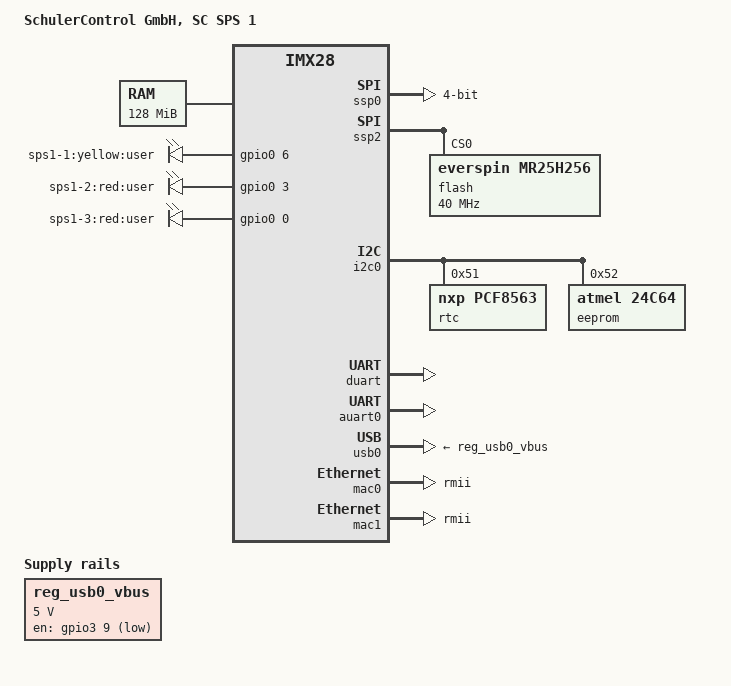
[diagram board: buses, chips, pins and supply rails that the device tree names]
/*
 * Copyright (C) 2012 Marek Vasut <marex@denx.de>
 *
 * The code contained herein is licensed under the GNU General Public
 * License. You may obtain a copy of the GNU General Public License
 * Version 2 or later at the following locations:
 *
 * http://www.opensource.org/licenses/gpl-license.html
 * http://www.gnu.org/copyleft/gpl.html
 */

/dts-v1/;
#include "imx28.dtsi"

/ {
	model = "SchulerControl GmbH, SC SPS 1";
	compatible = "schulercontrol,imx28-sps1", "fsl,imx28";

	memory@40000000 {
		device_type = "memory";
		reg = <0x40000000 0x08000000>;
	};

	apb@80000000 {
		apbh@80000000 {
			pinctrl@80018000 {
				pinctrl-names = "default";
				pinctrl-0 = <&hog_pins_a>;

				hog_pins_a: hog-gpios@0 {
					reg = <0>;
					fsl,pinmux-ids = <
						MX28_PAD_GPMI_D00__GPIO_0_0
						MX28_PAD_GPMI_D03__GPIO_0_3
						MX28_PAD_GPMI_D06__GPIO_0_6
					>;
					fsl,drive-strength = <MXS_DRIVE_4mA>;
					fsl,voltage = <MXS_VOLTAGE_HIGH>;
					fsl,pull-up = <MXS_PULL_DISABLE>;
				};

			};

			ssp0: spi@80010000 {
				compatible = "fsl,imx28-mmc";
				pinctrl-names = "default";
				pinctrl-0 = <&mmc0_4bit_pins_a>;
				bus-width = <4>;
				status = "okay";
			};

			ssp2: spi@80014000 {
				#address-cells = <1>;
				#size-cells = <0>;
				compatible = "fsl,imx28-spi";
				pinctrl-names = "default";
				pinctrl-0 = <&spi2_pins_a>;
				status = "okay";

				flash: m25p80@0 {
					#address-cells = <1>;
					#size-cells = <1>;
					compatible = "everspin,mr25h256", "mr25h256";
					spi-max-frequency = <40000000>;
					reg = <0>;
				};
			};
		};

		apbx@80040000 {
			i2c0: i2c@80058000 {
				pinctrl-names = "default";
				pinctrl-0 = <&i2c0_pins_a>;
				status = "okay";

				rtc: rtc@51 {
					compatible = "nxp,pcf8563";
					reg = <0x51>;
				};

				eeprom: eeprom@52 {
					compatible = "atmel,24c64";
					reg = <0x52>;
					pagesize = <32>;
				};
			};

			duart: serial@80074000 {
				pinctrl-names = "default";
				pinctrl-0 = <&duart_pins_a>;
				status = "okay";
			};

			usbphy0: usbphy@8007c000 {
				status = "okay";
			};

			auart0: serial@8006a000 {
				pinctrl-names = "default";
				pinctrl-0 = <&auart0_pins_a>;
				status = "okay";
			};
		};
	};

	ahb@80080000 {
		usb0: usb@80080000 {
			vbus-supply = <&reg_usb0_vbus>;
			pinctrl-names = "default";
			pinctrl-0 = <&usb0_pins_b>;
			status = "okay";
		};

		mac0: ethernet@800f0000 {
			phy-mode = "rmii";
			pinctrl-names = "default";
			pinctrl-0 = <&mac0_pins_a>;
			status = "okay";
		};

		mac1: ethernet@800f4000 {
			phy-mode = "rmii";
			pinctrl-names = "default";
			pinctrl-0 = <&mac1_pins_a>;
			status = "okay";
		};
	};

	regulators {
		compatible = "simple-bus";
		#address-cells = <1>;
		#size-cells = <0>;

		reg_usb0_vbus: regulator@0 {
			compatible = "regulator-fixed";
			reg = <0>;
			regulator-name = "usb0_vbus";
			regulator-min-microvolt = <5000000>;
			regulator-max-microvolt = <5000000>;
			gpio = <&gpio3 9 0>;
		};
	};

	leds {
		#address-cells = <1>;
		#size-cells = <0>;
		compatible = "gpio-leds";
		status = "okay";

		led@1 {
			label = "sps1-1:yellow:user";
			gpios = <&gpio0 6 0>;
			linux,default-trigger = "heartbeat";
			reg = <0>;
		};

		led@2 {
			label = "sps1-2:red:user";
			gpios = <&gpio0 3 0>;
			linux,default-trigger = "heartbeat";
			reg = <1>;
		};

		led@3 {
			label = "sps1-3:red:user";
			gpios = <&gpio0 0 0>;
			default-trigger = "heartbeat";
			reg = <2>;
		};

	};
};
